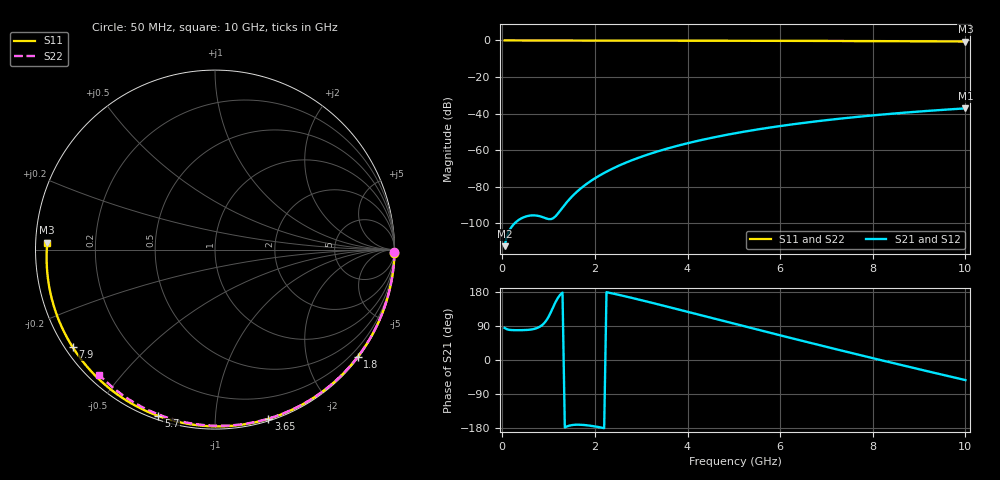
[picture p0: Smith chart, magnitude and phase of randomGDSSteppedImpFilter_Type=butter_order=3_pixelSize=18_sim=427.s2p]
! freq	dB(S11)	phase(S11)	dB(S12)	phase(S12)
!  dB(S21)	phase(S21)	dB(S22)	phase(S22)
!S-par simulation data
#  GHz  S  DB  R 50
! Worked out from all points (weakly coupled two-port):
!   200 points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, 50 MHz to 10 GHz, reference 50 ohm
!   highest |S21| = -37.11 dB at 10 GHz (marker M1); lowest = -112.4 dB at 50 MHz (marker M2)
!   lowest |S11| = -0.6 dB at 10 GHz (marker M3), VSWR 30.00, Z = 1.67 + j1.01 ohm
!   |S11| at or under -10 dB: nowhere
!   |S22| runs from -0.4 to 0.0 dB; largest |S21 - S12| = 0
!   S11 on the Smith chart (normalised r, x): 50 MHz: open; 1.8 GHz: 0.03, -3.00; 3.65 GHz: 0.02, -1.36; 5.7 GHz: 0.02, -0.72; 7.9 GHz: 0.02, -0.31; 10 GHz: 0.03, +0.02
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0.05  -0.00 -1.0  -112.39 84.7  -112.39 84.7  -0.00 -0.8
0.45  -0.01 -9.4  -96.73 78.8  -96.73 78.8  -0.01 -6.9
0.85  -0.02 -17.7  -96.34 91.1  -96.34 91.1  -0.02 -13.0
1.25  -0.03 -25.8  -92.99 172.0  -92.99 172.0  -0.02 -19.1
1.7  -0.04 -34.9  -80.73 -171.0  -80.73 -171.0  -0.03 -25.8
1.75  -0.05 -35.9  -79.72 -171.4  -79.72 -171.4  -0.03 -26.5
1.8  -0.05 -36.9  -78.76 -171.9  -78.76 -171.9  -0.03 -27.3
2.1  -0.05 -42.9  -73.79 -177.5  -73.79 -177.5  -0.04 -31.7
2.5  -0.06 -50.7  -68.62 172.4  -68.62 172.4  -0.05 -37.6
2.9  -0.08 -58.4  -64.48 160.9  -64.48 160.9  -0.06 -43.4
3.4  -0.09 -67.9  -60.26 145.8  -60.26 145.8  -0.07 -50.5
3.65  -0.10 -72.5  -58.44 138.1  -58.44 138.1  -0.07 -54.0
4.35  -0.12 -85.3  -54.11 116.3  -54.11 116.3  -0.09 -63.7
5.05  -0.15 -97.6  -50.60 94.5  -50.60 94.5  -0.11 -73.0
5.7  -0.18 -108.8  -47.88 74.3  -47.88 74.3  -0.14 -81.5
6.2  -0.21 -117.2  -46.06 59.0  -46.06 59.0  -0.16 -87.8
6.7  -0.24 -125.5  -44.43 43.7  -44.43 43.7  -0.18 -94.1
7.3  -0.29 -135.5  -42.70 25.7  -42.70 25.7  -0.22 -101.4
7.9  -0.34 -145.5  -41.18 7.8  -41.18 7.8  -0.26 -108.5
8.35  -0.38 -153.1  -40.15 -5.5  -40.15 -5.5  -0.29 -113.8
9.2  -0.48 -167.8  -38.45 -30.2  -38.45 -30.2  -0.36 -123.7
10  -0.58 177.7  -37.11 -53.0  -37.11 -53.0  -0.45 -132.8
